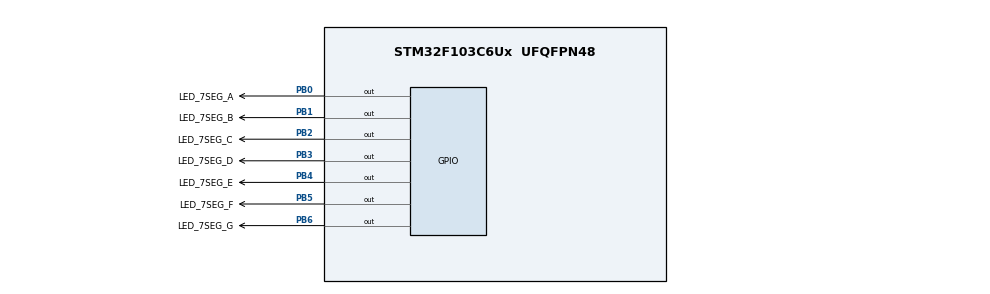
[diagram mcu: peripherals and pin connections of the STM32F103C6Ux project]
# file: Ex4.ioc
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Mcu.Family=STM32F1
Mcu.Name=STM32F103C6Ux
Mcu.Package=UFQFPN48
NVIC.PriorityGroup=NVIC_PRIORITYGROUP_4
PB0.GPIO_Label=LED_7SEG_A
PB0.Signal=GPIO_Output
PB1.GPIO_Label=LED_7SEG_B
PB1.Signal=GPIO_Output
PB2.GPIO_Label=LED_7SEG_C
PB2.Signal=GPIO_Output
PB3.GPIO_Label=LED_7SEG_D
PB3.Signal=GPIO_Output
PB4.GPIO_Label=LED_7SEG_E
PB4.Signal=GPIO_Output
PB5.GPIO_Label=LED_7SEG_F
PB5.Signal=GPIO_Output
PB6.GPIO_Label=LED_7SEG_G
PB6.Signal=GPIO_Output
ProjectManager.HeapSize=0x200
ProjectManager.StackSize=0x400
ProjectManager.TargetToolchain=STM32CubeIDE
RCC.APB1Freq_Value=8000000
RCC.APB2Freq_Value=8000000
VP_SYS_VS_ND.Mode=No_Debug
board=custom

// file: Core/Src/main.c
/* USER CODE BEGIN Header */
/**
  ******************************************************************************
  * @file           : main.c
  * @brief          : Main program body
  ******************************************************************************
  * @attention
  *
  * <h2><center>&copy; Copyright (c) 2022 STMicroelectronics.
  * All rights reserved.</center></h2>
  *
  * This software component is licensed by ST under BSD 3-Clause license,
  * the "License"; You may not use this file except in compliance with the
  * License. You may obtain a copy of the License at:
  *                        opensource.org/licenses/BSD-3-Clause
  *
  ******************************************************************************
  */
/* USER CODE END Header */
#include "main.h"

void SystemClock_Config(void);
static void MX_GPIO_Init(void);
/* USER CODE BEGIN PFP */
void display7SEG(int value);
/* USER CODE END PFP */

int main(void)
{

  /* MCU Configuration--------------------------------------------------------*/

  /* Reset of all peripherals, Initializes the Flash interface and the Systick. */
  HAL_Init();

  /* Configure the system clock */
  SystemClock_Config();

  /* Initialize all configured peripherals */
  MX_GPIO_Init();
  /* USER CODE BEGIN 2 */
  int counter = 0;
  /* USER CODE END 2 */

  /* Infinite loop */
  /* USER CODE BEGIN WHILE */
  while (1)
  {
	  if( counter >= 10) counter = 0;
	  display7SEG ( counter ++) ;
	  HAL_Delay (1000) ;

    /* USER CODE END WHILE */

  }
}

void SystemClock_Config(void)
{
  RCC_OscInitTypeDef RCC_OscInitStruct = {0};
  RCC_ClkInitTypeDef RCC_ClkInitStruct = {0};

  /** Initializes the RCC Oscillators according to the specified parameters
  * in the RCC_OscInitTypeDef structure.
  */
  RCC_OscInitStruct.OscillatorType = RCC_OSCILLATORTYPE_HSI;
  RCC_OscInitStruct.HSIState = RCC_HSI_ON;
  RCC_OscInitStruct.HSICalibrationValue = RCC_HSICALIBRATION_DEFAULT;
  RCC_OscInitStruct.PLL.PLLState = RCC_PLL_NONE;
  if (HAL_RCC_OscConfig(&RCC_OscInitStruct) != HAL_OK)
  {
    Error_Handler();
  }
  /** Initializes the CPU, AHB and APB buses clocks
  */
  RCC_ClkInitStruct.ClockType = RCC_CLOCKTYPE_HCLK|RCC_CLOCKTYPE_SYSCLK
                              |RCC_CLOCKTYPE_PCLK1|RCC_CLOCKTYPE_PCLK2;
  RCC_ClkInitStruct.SYSCLKSource = RCC_SYSCLKSOURCE_HSI;
  RCC_ClkInitStruct.AHBCLKDivider = RCC_SYSCLK_DIV1;
  RCC_ClkInitStruct.APB1CLKDivider = RCC_HCLK_DIV1;
  RCC_ClkInitStruct.APB2CLKDivider = RCC_HCLK_DIV1;

  if (HAL_RCC_ClockConfig(&RCC_ClkInitStruct, FLASH_LATENCY_0) != HAL_OK)
  {
    Error_Handler();
  }
}

static void MX_GPIO_Init(void)
{
  GPIO_InitTypeDef GPIO_InitStruct = {0};

  /* GPIO Ports Clock Enable */
  __HAL_RCC_GPIOB_CLK_ENABLE();

  /*Configure GPIO pin Output Level */
  HAL_GPIO_WritePin(GPIOB, LED_7SEG_A_Pin|LED_7SEG_B_Pin|LED_7SEG_C_Pin|LED_7SEG_D_Pin
                          |LED_7SEG_E_Pin|LED_7SEG_F_Pin|LED_7SEG_G_Pin, GPIO_PIN_RESET);

  /*Configure GPIO pins : LED_7SEG_A_Pin LED_7SEG_B_Pin LED_7SEG_C_Pin LED_7SEG_D_Pin
                           LED_7SEG_E_Pin LED_7SEG_F_Pin LED_7SEG_G_Pin */
  GPIO_InitStruct.Pin = LED_7SEG_A_Pin|LED_7SEG_B_Pin|LED_7SEG_C_Pin|LED_7SEG_D_Pin
                          |LED_7SEG_E_Pin|LED_7SEG_F_Pin|LED_7SEG_G_Pin;
  GPIO_InitStruct.Mode = GPIO_MODE_OUTPUT_PP;
  GPIO_InitStruct.Pull = GPIO_NOPULL;
  GPIO_InitStruct.Speed = GPIO_SPEED_FREQ_LOW;
  HAL_GPIO_Init(GPIOB, &GPIO_InitStruct);

}

/* USER CODE BEGIN 4 */
void display7SEG(int value) {
	HAL_GPIO_WritePin(LED_7SEG_A_GPIO_Port, LED_7SEG_A_Pin, GPIO_PIN_SET);
	HAL_GPIO_WritePin(LED_7SEG_B_GPIO_Port, LED_7SEG_B_Pin, GPIO_PIN_SET);
	HAL_GPIO_WritePin(LED_7SEG_C_GPIO_Port, LED_7SEG_C_Pin, GPIO_PIN_SET);
	HAL_GPIO_WritePin(LED_7SEG_D_GPIO_Port, LED_7SEG_D_Pin, GPIO_PIN_SET);
	HAL_GPIO_WritePin(LED_7SEG_E_GPIO_Port, LED_7SEG_E_Pin, GPIO_PIN_SET);
	HAL_GPIO_WritePin(LED_7SEG_F_GPIO_Port, LED_7SEG_F_Pin, GPIO_PIN_SET);
	HAL_GPIO_WritePin(LED_7SEG_G_GPIO_Port, LED_7SEG_G_Pin, GPIO_PIN_SET);
	switch (value) {
	case 1 :
		HAL_GPIO_WritePin(LED_7SEG_B_GPIO_Port, LED_7SEG_B_Pin, GPIO_PIN_RESET);
		HAL_GPIO_WritePin(LED_7SEG_C_GPIO_Port, LED_7SEG_C_Pin, GPIO_PIN_RESET);
		break;
	case 2 :
		HAL_GPIO_WritePin(LED_7SEG_A_GPIO_Port, LED_7SEG_A_Pin, GPIO_PIN_RESET);
		HAL_GPIO_WritePin(LED_7SEG_B_GPIO_Port, LED_7SEG_B_Pin, GPIO_PIN_RESET);
		HAL_GPIO_WritePin(LED_7SEG_D_GPIO_Port, LED_7SEG_D_Pin, GPIO_PIN_RESET);
		HAL_GPIO_WritePin(LED_7SEG_E_GPIO_Port, LED_7SEG_E_Pin, GPIO_PIN_RESET);
		HAL_GPIO_WritePin(LED_7SEG_G_GPIO_Port, LED_7SEG_G_Pin, GPIO_PIN_RESET);
		break;
	case 3 :
		HAL_GPIO_WritePin(LED_7SEG_A_GPIO_Port, LED_7SEG_A_Pin, GPIO_PIN_RESET);
		HAL_GPIO_WritePin(LED_7SEG_B_GPIO_Port, LED_7SEG_B_Pin, GPIO_PIN_RESET);
		HAL_GPIO_WritePin(LED_7SEG_C_GPIO_Port, LED_7SEG_C_Pin, GPIO_PIN_RESET);
		HAL_GPIO_WritePin(LED_7SEG_D_GPIO_Port, LED_7SEG_D_Pin, GPIO_PIN_RESET);
		HAL_GPIO_WritePin(LED_7SEG_G_GPIO_Port, LED_7SEG_G_Pin, GPIO_PIN_RESET);
		break;
	case 4 :
		HAL_GPIO_WritePin(LED_7SEG_B_GPIO_Port, LED_7SEG_B_Pin, GPIO_PIN_RESET);
		HAL_GPIO_WritePin(LED_7SEG_C_GPIO_Port, LED_7SEG_C_Pin, GPIO_PIN_RESET);
		HAL_GPIO_WritePin(LED_7SEG_F_GPIO_Port, LED_7SEG_F_Pin, GPIO_PIN_RESET);
		HAL_GPIO_WritePin(LED_7SEG_G_GPIO_Port, LED_7SEG_G_Pin, GPIO_PIN_RESET);
		break;
	case 5 :
		HAL_GPIO_WritePin(LED_7SEG_A_GPIO_Port, LED_7SEG_A_Pin, GPIO_PIN_RESET);
		HAL_GPIO_WritePin(LED_7SEG_C_GPIO_Port, LED_7SEG_C_Pin, GPIO_PIN_RESET);
		HAL_GPIO_WritePin(LED_7SEG_D_GPIO_Port, LED_7SEG_D_Pin, GPIO_PIN_RESET);
		HAL_GPIO_WritePin(LED_7SEG_F_GPIO_Port, LED_7SEG_F_Pin, GPIO_PIN_RESET);
		HAL_GPIO_WritePin(LED_7SEG_G_GPIO_Port, LED_7SEG_G_Pin, GPIO_PIN_RESET);
		break;
	case 6:
		HAL_GPIO_WritePin(LED_7SEG_A_GPIO_Port, LED_7SEG_A_Pin, GPIO_PIN_RESET);
		HAL_GPIO_WritePin(LED_7SEG_C_GPIO_Port, LED_7SEG_C_Pin, GPIO_PIN_RESET);
		HAL_GPIO_WritePin(LED_7SEG_D_GPIO_Port, LED_7SEG_D_Pin, GPIO_PIN_RESET);
		HAL_GPIO_WritePin(LED_7SEG_E_GPIO_Port, LED_7SEG_E_Pin, GPIO_PIN_RESET);
		HAL_GPIO_WritePin(LED_7SEG_F_GPIO_Port, LED_7SEG_F_Pin, GPIO_PIN_RESET);
		HAL_GPIO_WritePin(LED_7SEG_G_GPIO_Port, LED_7SEG_G_Pin, GPIO_PIN_RESET);
		break;
	case 7 :
		HAL_GPIO_WritePin(LED_7SEG_A_GPIO_Port, LED_7SEG_A_Pin, GPIO_PIN_RESET);
		HAL_GPIO_WritePin(LED_7SEG_B_GPIO_Port, LED_7SEG_B_Pin, GPIO_PIN_RESET);
		HAL_GPIO_WritePin(LED_7SEG_C_GPIO_Port, LED_7SEG_C_Pin, GPIO_PIN_RESET);
		break;
	case 8 :
		HAL_GPIO_WritePin(LED_7SEG_A_GPIO_Port, LED_7SEG_A_Pin, GPIO_PIN_RESET);
		HAL_GPIO_WritePin(LED_7SEG_B_GPIO_Port, LED_7SEG_B_Pin, GPIO_PIN_RESET);
		HAL_GPIO_WritePin(LED_7SEG_C_GPIO_Port, LED_7SEG_C_Pin, GPIO_PIN_RESET);
		HAL_GPIO_WritePin(LED_7SEG_D_GPIO_Port, LED_7SEG_D_Pin, GPIO_PIN_RESET);
		HAL_GPIO_WritePin(LED_7SEG_E_GPIO_Port, LED_7SEG_E_Pin, GPIO_PIN_RESET);
		HAL_GPIO_WritePin(LED_7SEG_F_GPIO_Port, LED_7SEG_F_Pin, GPIO_PIN_RESET);
		HAL_GPIO_WritePin(LED_7SEG_G_GPIO_Port, LED_7SEG_G_Pin, GPIO_PIN_RESET);
		break;
	case 9:
		HAL_GPIO_WritePin(LED_7SEG_A_GPIO_Port, LED_7SEG_A_Pin, GPIO_PIN_RESET);
		HAL_GPIO_WritePin(LED_7SEG_B_GPIO_Port, LED_7SEG_B_Pin, GPIO_PIN_RESET);
		HAL_GPIO_WritePin(LED_7SEG_C_GPIO_Port, LED_7SEG_C_Pin, GPIO_PIN_RESET);
		HAL_GPIO_WritePin(LED_7SEG_D_GPIO_Port, LED_7SEG_D_Pin, GPIO_PIN_RESET);
		HAL_GPIO_WritePin(LED_7SEG_F_GPIO_Port, LED_7SEG_F_Pin, GPIO_PIN_RESET);
		HAL_GPIO_WritePin(LED_7SEG_G_GPIO_Port, LED_7SEG_G_Pin, GPIO_PIN_RESET);
		break;
	default:
		HAL_GPIO_WritePin(LED_7SEG_A_GPIO_Port, LED_7SEG_A_Pin, GPIO_PIN_RESET);
		HAL_GPIO_WritePin(LED_7SEG_B_GPIO_Port, LED_7SEG_B_Pin, GPIO_PIN_RESET);
		HAL_GPIO_WritePin(LED_7SEG_C_GPIO_Port, LED_7SEG_C_Pin, GPIO_PIN_RESET);
		HAL_GPIO_WritePin(LED_7SEG_D_GPIO_Port, LED_7SEG_D_Pin, GPIO_PIN_RESET);
		HAL_GPIO_WritePin(LED_7SEG_E_GPIO_Port, LED_7SEG_E_Pin, GPIO_PIN_RESET);
		HAL_GPIO_WritePin(LED_7SEG_F_GPIO_Port, LED_7SEG_F_Pin, GPIO_PIN_RESET);
		break;
	}
}
/* USER CODE END 4 */

void Error_Handler(void)
{
  __disable_irq();
  while (1)
  {
  }
}

/************************ (C) COPYRIGHT STMicroelectronics *****END OF FILE****/
